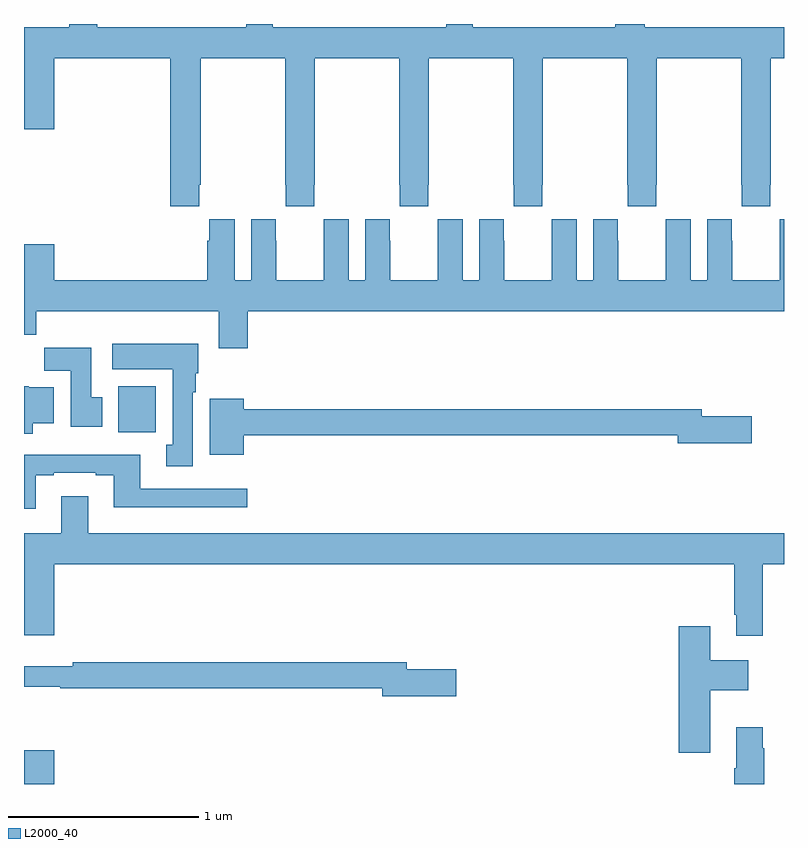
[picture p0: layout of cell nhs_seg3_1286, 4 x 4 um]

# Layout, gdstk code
import gdstk
lib = gdstk.Library(unit=1e-6, precision=1e-09)
def R(c, l, rs):  # rectangles x0, y0, x1, y1
    for r in rs: c.add(gdstk.rectangle(r[:2], r[2:], *l))
def P(c, l, *ps):  # polygons
    for p in ps: c.add(gdstk.Polygon(p, *l))
L2000_40 = (2000, 40)

nhs_seg3_1286 = lib.new_cell('nhs_seg3_1286')
R(nhs_seg3_1286, L2000_40, [(177,726.4,177.16,726.577), (177.497,728.252,177.694,728.494)])
P(nhs_seg3_1286, L2000_40, [(177.923,729.553),(177.93,729.553),(177.93,730.22),(178.375,730.22),(178.375,729.553),(178.377,729.553),(178.377,729.441),(178.527,729.441),(178.527,729.553),(178.53,729.553),(178.53,730.22),(178.975,730.22),(178.975,729.553),(178.977,729.553),(178.977,729.441),(179.127,729.441),(179.127,729.553),(179.13,729.553),(179.13,730.22),(179.575,730.22),(179.575,729.553),(179.577,729.553),(179.577,729.441),(179.727,729.441),(179.727,729.553),(179.73,729.553),(179.73,730.22),(180.175,730.22),(180.175,729.553),(180.177,729.553),(180.177,729.441),(180.327,729.441),(180.327,729.553),(180.33,729.553),(180.33,730.22),(180.775,730.22),(180.775,729.553),(180.777,729.553),(180.777,729.441),(180.927,729.441),(180.927,729.553),(180.93,729.553),(180.93,730.22),(181,730.22),(181,730.384),(180.266,730.384),(180.266,730.4),(180.113,730.4),(180.113,730.384),(179.361,730.384),(179.361,730.4),(179.223,730.4),(179.223,730.384),(178.309,730.384),(178.309,730.4),(178.169,730.4),(178.169,730.384),(177.385,730.384),(177.385,730.4),(177.238,730.4),(177.238,730.384),(177,730.384),(177,729.846),(177.16,729.846),(177.16,730.22),(177.77,730.22),(177.77,729.441),(177.923,729.441)],
  [(178.796,729.373),(178.796,729.052),(178.708,729.052),(178.708,729.373),(178.578,729.373),(178.578,729.26),(178.577,729.26),(178.577,729.052),(178.327,729.052),(178.327,729.26),(178.326,729.26),(178.326,729.373),(178.196,729.373),(178.196,729.052),(178.108,729.052),(178.108,729.373),(177.974,729.373),(177.974,729.26),(177.965,729.26),(177.965,729.052),(177.16,729.052),(177.16,729.241),(177,729.241),(177,728.764),(177.065,728.764),(177.065,728.888),(178.025,728.888),(178.025,728.694),(178.178,728.694),(178.178,728.888),(181,728.888),(181,729.373),(180.978,729.373),(180.978,729.26),(180.977,729.26),(180.977,729.052),(180.727,729.052),(180.727,729.26),(180.726,729.26),(180.726,729.373),(180.596,729.373),(180.596,729.052),(180.508,729.052),(180.508,729.373),(180.378,729.373),(180.378,729.26),(180.377,729.26),(180.377,729.052),(180.127,729.052),(180.127,729.26),(180.126,729.26),(180.126,729.373),(179.996,729.373),(179.996,729.052),(179.908,729.052),(179.908,729.373),(179.778,729.373),(179.778,729.26),(179.777,729.26),(179.777,729.052),(179.527,729.052),(179.527,729.26),(179.526,729.26),(179.526,729.373),(179.396,729.373),(179.396,729.052),(179.308,729.052),(179.308,729.373),(179.178,729.373),(179.178,729.26),(179.177,729.26),(179.177,729.052),(178.927,729.052),(178.927,729.26),(178.926,729.26),(178.926,729.373)],
  [(177.889,728.462),(177.904,728.462),(177.904,728.562),(177.916,728.562),(177.916,728.716),(177.465,728.716),(177.465,728.582),(177.782,728.582),(177.782,728.186),(177.749,728.186),(177.749,728.073),(177.889,728.073)],
  [(177.412,728.436),(177.355,728.436),(177.355,728.695),(177.106,728.695),(177.106,728.576),(177.245,728.576),(177.245,728.28),(177.412,728.28)],
  [(177.046,728.3),(177.157,728.3),(177.157,728.488),(177.024,728.488),(177.024,728.494),(177,728.494),(177,728.243),(177.046,728.243)],
  [(178.156,728.236),(180.44,728.236),(180.44,728.194),(180.829,728.194),(180.829,728.336),(180.568,728.336),(180.568,728.372),(178.156,728.372),(178.156,728.428),(177.977,728.428),(177.977,728.132),(178.156,728.132)],
  [(177.061,728.025),(177.157,728.025),(177.157,728.037),(177.377,728.037),(177.377,728.025),(177.473,728.025),(177.473,727.856),(178.174,727.856),(178.174,727.953),(177.613,727.953),(177.613,728.134),(177,728.134),(177,727.848),(177.061,727.848)],
  [(180.889,727.556),(181,727.556),(181,727.72),(177.337,727.72),(177.337,727.915),(177.197,727.915),(177.197,727.72),(177,727.72),(177,727.182),(177.16,727.182),(177.16,727.556),(180.737,727.556),(180.737,727.291),(180.749,727.291),(180.749,727.179),(180.889,727.179)],
  [(180.613,726.893),(180.811,726.893),(180.811,727.051),(180.613,727.051),(180.613,727.231),(180.446,727.231),(180.446,726.564),(180.613,726.564)],
  [(179.275,727.004),(179.014,727.004),(179.014,727.04),(177.256,727.04),(177.256,727.021),(177,727.021),(177,726.912),(177.19,726.912),(177.19,726.904),(178.886,726.904),(178.886,726.862),(179.275,726.862)],
  [(180.897,726.587),(180.889,726.587),(180.889,726.7),(180.749,726.7),(180.749,726.484),(180.737,726.484),(180.737,726.4),(180.897,726.4)])

lib.write_gds('nhs_seg3_1286.gds')
